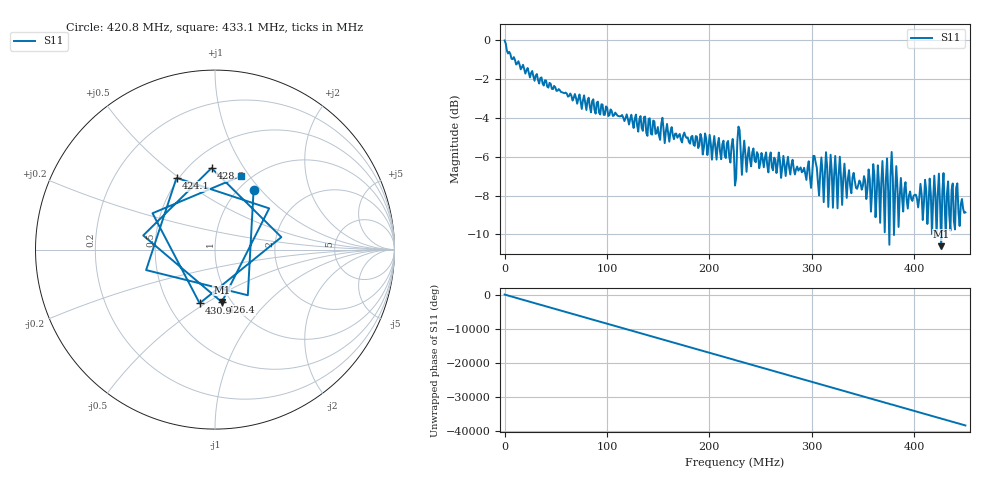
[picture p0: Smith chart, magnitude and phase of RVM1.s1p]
! NanoVNA-App
! Date: 2026-09-29 13:04:09
! Start: 50kHz Stop: 450MHz Points: 401
! S-Parameter data: F S11
# Hz S RI R 50
!  Frequency  S11_Real  S11_Imag
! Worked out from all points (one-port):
!   401 points, 50 kHz to 450 MHz, reference 50 ohm
!   lowest |S11| = -10.6 dB at 426.4 MHz (marker M1), VSWR 1.84, Z = 45.2 - j28.9 ohm
!   |S11| at or under -10 dB: 375.5372 MHz to 375.9289 MHz (391.8 kHz wide, 0.104 % of centre); 380.2437 MHz to 380.2769 MHz (33.23 kHz wide, 0.00874 % of centre); 421.8328 MHz to 421.921 MHz (88.24 kHz wide, 0.0209 % of centre) (the widest 3 of 5)
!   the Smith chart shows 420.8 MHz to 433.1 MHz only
!   S11 on the Smith chart (normalised r, x): 420.8 MHz: 1.16, +0.91; 424.1 MHz: 0.49, +0.49; 426.4 MHz: 0.90, -0.58; 428.6 MHz: 0.64, +0.73; 430.9 MHz: 0.71, -0.47; 433.1 MHz: 0.90, +0.91
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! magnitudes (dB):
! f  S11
! 50 kHz  0.0
! 56.29 MHz  -2.7
! 112.5 MHz  -3.9
! 168.8 MHz  -5.0
! 225 MHz  -7.5
! 229.5 MHz  -4.6
! 234 MHz  -5.2
! 281.3 MHz  -6.2
! 337.5 MHz  -7.5
! 362.3 MHz  -9.1
! 364.5 MHz  -6.4
! 366.8 MHz  -9.4
! 369 MHz  -6.2
! 371.3 MHz  -9.9
! 373.5 MHz  -6.1
! 375.8 MHz  -10.5
! 378 MHz  -5.8
! 380.3 MHz  -10.0
! 382.5 MHz  -6.5
! 393.8 MHz  -8.7
! 420.8 MHz  -8.1
! 424.1 MHz  -6.9
! 426.4 MHz  -10.6
! 428.6 MHz  -6.8
! 430.9 MHz  -10.1
! 433.1 MHz  -7.3
! 435.4 MHz  -9.8
! 450 MHz  -8.9
